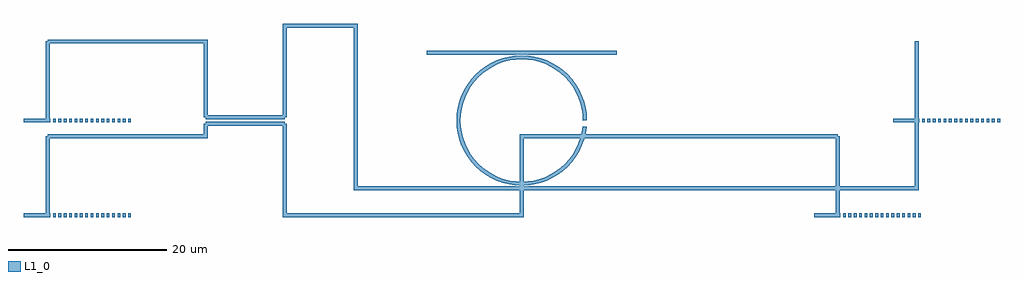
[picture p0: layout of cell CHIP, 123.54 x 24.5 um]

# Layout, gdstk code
import gdstk
lib = gdstk.Library(unit=1e-6, precision=1e-09)
def R(c, l, rs):  # rectangles x0, y0, x1, y1
    for r in rs: c.add(gdstk.rectangle(r[:2], r[2:], *l))
def A(c, l, x, y, w, h, nx, ny, dx, dy):  # array of equal rectangles
    R(c, l, [(x+i*dx, y+j*dy, x+i*dx+w, y+j*dy+h) for i in range(nx) for j in range(ny)])
L1_0 = (1, 0)

chip = lib.new_cell('CHIP')
A(chip, L1_0, 0, -12.25, 0.34, 0.5, 16, 2, 0.68, 12)
A(chip, L1_0, 100, -12.25, 0.34, 0.5, 16, 1, 0.68, 0)
A(chip, L1_0, 110, -0.25, 0.34, 0.5, 16, 1, 0.68, 0)
chip.add(gdstk.FlexPath([(0,0),(0,10)], 0.5, ends="flush", simple_path=True, layer=1, datatype=0))  # L1_0
chip.add(gdstk.FlexPath([(0,-12),(0,-2)], 0.5, ends="flush", simple_path=True, layer=1, datatype=0))  # L1_0
chip.add(gdstk.FlexPath([(110,0),(110,10)], 0.5, ends="flush", simple_path=True, layer=1, datatype=0))  # L1_0
chip.add(gdstk.FlexPath([(100,-12),(100,-2)], 0.5, ends="flush", simple_path=True, layer=1, datatype=0))  # L1_0
chip.add(gdstk.FlexPath([(20,0.4),(30,0.4)], 0.5, ends="flush", simple_path=True, layer=1, datatype=0))  # L1_0
chip.add(gdstk.FlexPath([(20,-0.4),(30,-0.4)], 0.5, ends="flush", simple_path=True, layer=1, datatype=0))  # L1_0
chip.add(gdstk.FlexPath([(68,0),(67.961,0.784),(67.846,1.561),(67.656,2.322),(67.391,3.061),(67.055,3.771),(66.652,4.445),(66.184,5.075),(65.657,5.657),(65.075,6.184),(64.445,6.652),(63.771,7.055),(63.061,7.391),(62.322,7.656),(61.561,7.846),(60.784,7.961),(60,8),(59.216,7.961),(58.439,7.846),(57.678,7.656),(56.939,7.391),(56.229,7.055),(55.555,6.652),(54.925,6.184),(54.343,5.657),(53.816,5.075),(53.348,4.445),(52.945,3.771),(52.609,3.061),(52.344,2.322),(52.154,1.561),(52.039,0.784),(52,0),(52.039,-0.784),(52.154,-1.561),(52.344,-2.322),(52.609,-3.061),(52.945,-3.771),(53.348,-4.445),(53.816,-5.075),(54.343,-5.657),(54.925,-6.184),(55.555,-6.652),(56.229,-7.055),(56.939,-7.391),(57.678,-7.656),(58.439,-7.846),(59.216,-7.961),(60,-8),(60.784,-7.961),(61.561,-7.846),(62.322,-7.656),(63.061,-7.391),(63.771,-7.055),(64.445,-6.652),(65.075,-6.184),(65.657,-5.657),(66.184,-5.075),(66.652,-4.445),(67.055,-3.771),(67.391,-3.061),(67.656,-2.322),(67.846,-1.561),(67.961,-0.784)], 0.5, ends="flush", simple_path=True, layer=1, datatype=0))  # L1_0
chip.add(gdstk.FlexPath([(48,-8.55),(72,-8.55)], 0.5, ends="flush", simple_path=True, layer=1, datatype=0))  # L1_0
chip.add(gdstk.FlexPath([(48,8.55),(72,8.55)], 0.5, ends="flush", simple_path=True, layer=1, datatype=0))  # L1_0
chip.add(gdstk.FlexPath([(0,10),(20,10),(20,0.4)], 0.5, ends="flush", simple_path=True, layer=1, datatype=0))  # L1_0
chip.add(gdstk.FlexPath([(0,-2),(20,-2),(20,-0.4)], 0.5, ends="flush", simple_path=True, layer=1, datatype=0))  # L1_0
chip.add(gdstk.FlexPath([(30,0.4),(30,12),(39,12),(39,-8.55),(48,-8.55)], 0.5, ends="flush", simple_path=True, layer=1, datatype=0))  # L1_0
chip.add(gdstk.FlexPath([(72,-8.55),(110,-8.55),(110,10)], 0.5, ends="flush", simple_path=True, layer=1, datatype=0))  # L1_0
chip.add(gdstk.FlexPath([(30,-0.4),(30,-12),(60,-12),(60,-2),(100,-2)], 0.5, ends="flush", simple_path=True, layer=1, datatype=0))  # L1_0
chip.add(gdstk.FlexPath([(-3,0),(0,0)], 0.5, ends="flush", simple_path=True, layer=1, datatype=0))  # L1_0
chip.add(gdstk.FlexPath([(-3,-12),(0,-12)], 0.5, ends="flush", simple_path=True, layer=1, datatype=0))  # L1_0
chip.add(gdstk.FlexPath([(107,0),(110,0)], 0.5, ends="flush", simple_path=True, layer=1, datatype=0))  # L1_0
chip.add(gdstk.FlexPath([(97,-12),(100,-12)], 0.5, ends="flush", simple_path=True, layer=1, datatype=0))  # L1_0

lib.write_gds('CHIP.gds')
